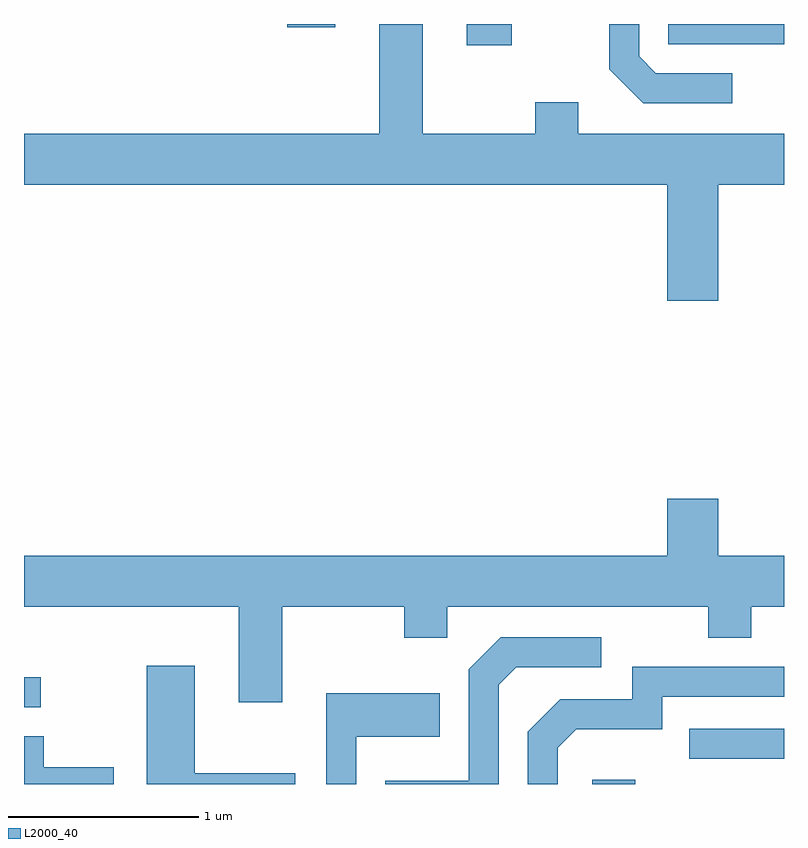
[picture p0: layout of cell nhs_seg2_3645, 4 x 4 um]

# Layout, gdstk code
import gdstk
lib = gdstk.Library(unit=1e-6, precision=1e-09)
def R(c, l, rs):  # rectangles x0, y0, x1, y1
    for r in rs: c.add(gdstk.rectangle(r[:2], r[2:], *l))
def P(c, l, *ps):  # polygons
    for p in ps: c.add(gdstk.Polygon(p, *l))
L2000_40 = (2000, 40)

nhs_seg2_3645 = lib.new_cell('nhs_seg2_3645')
R(nhs_seg2_3645, L2000_40, [(294.601,1071.802,294.829,1071.824), (295.113,1071.936,295.611,1072.094), (291.611,1072.206,291.698,1072.364), (293.941,1075.691,294.178,1075.802), (295.001,1075.696,295.611,1075.802), (292.996,1075.786,293.249,1075.802)])
P(nhs_seg2_3645, L2000_40, [(295.264,1074.956),(295.611,1074.956),(295.611,1075.224),(294.529,1075.224),(294.529,1075.389),(294.301,1075.389),(294.301,1075.224),(293.709,1075.224),(293.709,1075.802),(293.481,1075.802),(293.481,1075.224),(291.611,1075.224),(291.611,1074.956),(294.996,1074.956),(294.996,1074.346),(295.264,1074.346)],
  [(295.338,1075.544),(294.937,1075.544),(294.849,1075.632),(294.849,1075.802),(294.691,1075.802),(294.691,1075.564),(294.869,1075.386),(295.338,1075.386)],
  [(292.969,1072.736),(293.611,1072.736),(293.611,1072.571),(293.839,1072.571),(293.839,1072.736),(295.211,1072.736),(295.211,1072.571),(295.439,1072.571),(295.439,1072.736),(295.611,1072.736),(295.611,1073.004),(295.264,1073.004),(295.264,1073.304),(294.996,1073.304),(294.996,1073.004),(291.611,1073.004),(291.611,1072.736),(292.741,1072.736),(292.741,1072.231),(292.969,1072.231)],
  [(294.109,1072.324),(294.202,1072.416),(294.648,1072.416),(294.648,1072.574),(294.119,1072.574),(293.951,1072.407),(293.951,1071.819),(293.511,1071.819),(293.511,1071.802),(294.109,1071.802)],
  [(293.039,1071.859),(292.509,1071.859),(292.509,1072.424),(292.256,1072.424),(292.256,1071.802),(293.039,1071.802)],
  [(294.419,1071.994),(294.517,1072.091),(294.969,1072.091),(294.969,1072.261),(295.611,1072.261),(295.611,1072.419),(294.811,1072.419),(294.811,1072.249),(294.434,1072.249),(294.261,1072.077),(294.261,1071.802),(294.419,1071.802)],
  [(293.359,1072.051),(293.799,1072.051),(293.799,1072.279),(293.201,1072.279),(293.201,1071.802),(293.359,1071.802)],
  [(292.084,1071.889),(291.714,1071.889),(291.714,1072.054),(291.611,1072.054),(291.611,1071.802),(292.084,1071.802)])

lib.write_gds('nhs_seg2_3645.gds')
